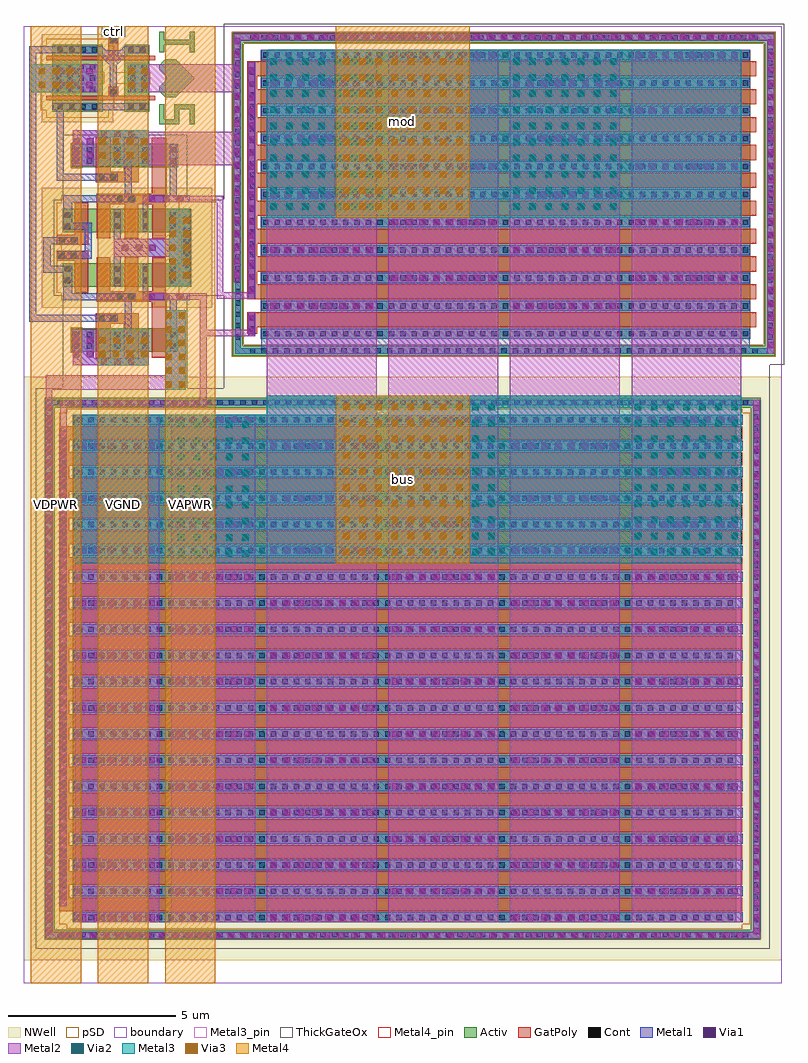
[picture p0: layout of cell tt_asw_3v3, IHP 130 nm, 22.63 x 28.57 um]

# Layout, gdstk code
import gdstk
lib = gdstk.Library(unit=1e-6, precision=1e-09)
def R(c, l, rs):  # rectangles x0, y0, x1, y1
    for r in rs: c.add(gdstk.rectangle(r[:2], r[2:], *l))
def A(c, l, x, y, w, h, nx, ny, dx, dy):  # array of equal rectangles
    R(c, l, [(x+i*dx, y+j*dy, x+i*dx+w, y+j*dy+h) for i in range(nx) for j in range(ny)])
def P(c, l, *ps):  # polygons
    for p in ps: c.add(gdstk.Polygon(p, *l))
Activ = (1, 0)
GatPoly = (5, 0)
Cont = (6, 0)
Metal1 = (8, 0)
Metal2 = (10, 0)
pSD = (14, 0)
Via1 = (19, 0)
Via2 = (29, 0)
Metal3 = (30, 0)
Metal3_pin = (30, 2)
NWell = (31, 0)
ThickGateOx = (44, 0)
Via3 = (49, 0)
Metal4 = (50, 0)
Metal4_pin = (50, 2)
boundary = (189, 4)

tt_asw_3v3 = lib.new_cell('tt_asw_3v3')
R(tt_asw_3v3, Activ, [(0.62,1.3,21.94,1.6), (0.62,1.6,0.92,17.14), (21.64,1.6,21.94,17.14), (1.45,1.81,21.21,16.93), (0.62,17.14,21.94,17.44), (6.22,18.68,22.36,18.98), (1.42,18.8,4.59,19.5), (6.22,18.98,6.52,28), (22.06,18.98,22.36,28), (7.05,19.19,21.63,27.79), (1.15,20.74,4.98,21.44), (4.68,21.44,4.98,22.36), (1.15,22.36,4.98,23.06), (1.42,24.3,4.59,25), (4.03,25.575,4.63,25.725), (4.93,25.575,5.08,26.025), (4.03,25.725,4.18,26.175), (4.48,25.725,4.63,26.025), (0.84,25.95,2.34,27.95), (2.98,25.95,3.73,27.95), (4.48,26.025,5.08,26.175), (4.205,26.385,4.515,26.56), (4.03,26.56,4.515,26.695), (4.24,26.695,4.515,27.205), (4.03,27.205,4.515,27.34), (4.205,27.34,4.515,27.515), (4.03,27.725,4.18,27.95), (4.93,27.725,5.08,27.95), (4.03,27.95,5.08,28.1), (6.22,28,22.36,28.3), (4.03,28.1,4.18,28.325), (4.93,28.1,5.08,28.325)])
P(tt_asw_3v3, Activ, [(4.03,27.34),(4.205,27.34),(4.205,27.515)],
  [(4.03,27.205),(4.24,27.205),(4.24,26.995)],
  [(4.03,26.695),(4.24,26.695),(4.24,26.905)],
  [(4.515,27.515),(4.515,26.95),(5.08,26.95)],
  [(4.03,26.56),(4.205,26.56),(4.205,26.385)],
  [(4.515,26.385),(4.515,26.95),(5.08,26.95)])
A(tt_asw_3v3, GatPoly, 1.05, 2.15, 20.34, 0.4, 1, 19, 0, 0.78)
A(tt_asw_3v3, GatPoly, 1.05, 2.55, 0.3, 0.38, 1, 18, 0, 0.78)
A(tt_asw_3v3, GatPoly, 6.65, 19.53, 15.16, 0.45, 1, 10, 0, 0.83)
A(tt_asw_3v3, GatPoly, 2.165, 20.6, 0.4, 1.02, 3, 2, 0.83, 1.58)
A(tt_asw_3v3, GatPoly, 6.65, 20.81, 0.3, 0.38, 1, 8, 0, 0.83)
R(tt_asw_3v3, GatPoly, [(2.14,18.62,2.59,19.64), (2.97,18.62,3.42,19.64), (3.8,18.62,4.25,20.29), (6.65,19.34,6.95,19.53), (2.14,19.64,3.42,19.95), (2.165,20.29,4.25,20.56), (1.515,20.56,1.915,21.51), (2.165,20.56,4.225,20.6), (0.98,21.51,1.915,21.81), (0.98,21.99,1.915,22.29), (1.515,22.29,1.915,23.24), (2.165,23.2,4.225,23.24), (2.165,23.24,4.25,23.51), (3.8,23.51,4.25,25.18), (2.14,23.85,3.42,24.16), (2.14,24.16,2.59,25.18), (2.97,24.16,3.42,25.18), (0.66,26.29,3.91,26.42), (2.51,26.42,2.81,26.695), (0.66,27.48,3.91,27.61), (2.51,27.61,2.81,28.27)])
A(tt_asw_3v3, Cont, 1, 1.37, 0.16, 0.16, 61, 2, 0.34, 15.84)
A(tt_asw_3v3, Cont, 0.69, 1.795, 0.16, 0.16, 1, 45, 0, 0.34)
A(tt_asw_3v3, Cont, 21.71, 1.82, 0.16, 0.16, 1, 45, 0, 0.34)
A(tt_asw_3v3, Cont, 1.57, 1.88, 0.16, 0.16, 58, 20, 0.34, 0.78)
A(tt_asw_3v3, Cont, 1.12, 2.49, 0.16, 0.16, 1, 41, 0, 0.34)
A(tt_asw_3v3, Cont, 6.73, 18.75, 0.16, 0.16, 45, 2, 0.34, 9.32)
A(tt_asw_3v3, Cont, 1.87, 18.9, 0.16, 0.16, 4, 2, 0.83, 0.34)
A(tt_asw_3v3, Cont, 6.29, 19.16, 0.16, 0.16, 1, 26, 0, 0.34)
A(tt_asw_3v3, Cont, 22.13, 19.16, 0.16, 0.16, 1, 26, 0, 0.34)
A(tt_asw_3v3, Cont, 7.12, 19.26, 0.16, 0.16, 43, 11, 0.34, 0.83)
A(tt_asw_3v3, Cont, 6.72, 20.595, 0.16, 0.16, 1, 20, 0, 0.34)
A(tt_asw_3v3, Cont, 2.7, 20.84, 0.16, 0.16, 3, 2, 0.83, 0.34)
A(tt_asw_3v3, Cont, 4.75, 20.97, 0.16, 0.16, 1, 6, 0, 0.34)
A(tt_asw_3v3, Cont, 2.7, 22.46, 0.16, 0.16, 3, 2, 0.83, 0.34)
A(tt_asw_3v3, Cont, 1.87, 24.4, 0.16, 0.16, 4, 2, 0.83, 0.34)
A(tt_asw_3v3, Cont, 1, 26.02, 0.16, 0.16, 4, 2, 0.34, 1.7)
A(tt_asw_3v3, Cont, 0.945, 26.53, 0.16, 0.16, 4, 3, 0.34, 0.34)
A(tt_asw_3v3, Cont, 3.16, 26.53, 0.16, 0.16, 1, 3, 0, 0.34)
A(tt_asw_3v3, Cont, 3.5, 26.53, 0.16, 0.16, 1, 3, 0, 0.34)
R(tt_asw_3v3, Cont, [(1.49,18.9,1.65,19.06), (1.49,19.24,1.65,19.4), (6.72,19.41,6.88,19.57), (2.235,19.715,2.395,19.875), (2.575,19.715,2.735,19.875), (6.72,19.75,6.88,19.91), (2.77,20.365,2.93,20.525), (3.11,20.365,3.27,20.525), (1.22,20.84,1.38,21), (1.22,21.18,1.38,21.34), (1.05,21.58,1.21,21.74), (1.39,21.58,1.55,21.74), (1.05,22.06,1.21,22.22), (1.39,22.06,1.55,22.22), (1.22,22.46,1.38,22.62), (1.22,22.8,1.38,22.96), (2.77,23.275,2.93,23.435), (3.11,23.275,3.27,23.435), (2.235,23.925,2.395,24.085), (2.575,23.925,2.735,24.085), (1.49,24.4,1.65,24.56), (1.49,24.74,1.65,24.9), (3.105,26.02,3.265,26.18), (3.445,26.02,3.605,26.18), (2.58,26.465,2.74,26.625), (3.105,27.72,3.265,27.88), (3.445,27.72,3.605,27.88), (2.58,28.04,2.74,28.2)])
A(tt_asw_3v3, Metal1, 1.485, 1.81, 19.92, 0.3, 1, 20, 0, 0.78)
A(tt_asw_3v3, Metal1, 7.07, 20.02, 14.54, 0.3, 1, 10, 0, 0.83)
R(tt_asw_3v3, Metal1, [(0.64,1.32,21.92,1.53), (0.64,1.53,0.85,17.21), (21.71,1.53,21.92,17.21), (1.07,2.295,1.28,16.445), (0.64,17.21,21.92,17.37), (1.45,18.4,3.715,18.61), (1.45,18.61,2.07,19.48), (3.505,18.61,3.715,19.48), (6.29,18.75,22.34,18.91), (2.675,18.82,2.885,19.27), (4.335,18.82,4.545,20.34), (6.29,18.91,6.45,20.88), (7.07,18.91,21.61,19.49), (22.13,18.91,22.34,28.07), (6.67,19.26,6.88,19.96), (2.675,19.27,3.205,19.48), (2.995,19.48,3.205,20.34), (0.16,19.69,2.785,19.9), (0.16,19.9,0.37,27.695), (1.17,20.34,3.32,20.55), (3.53,20.34,4.935,20.55), (6.67,20.38,6.88,27.43), (1.17,20.55,1.43,21.16), (3.53,20.55,3.69,21.42), (2.675,20.76,2.885,21.63), (4.325,20.76,4.945,21.63), (6.24,20.88,6.45,28.07), (0.58,21.16,1.43,21.37), (0.58,21.37,0.79,22.01), (1,21.58,2.02,21.79), (2.675,21.63,4.945,22.17), (1.81,21.79,2.02,22.43), (0.58,22.01,1.6,22.22), (2.675,22.17,2.885,23.04), (4.325,22.17,4.945,23.04), (3.53,22.38,3.69,23.25), (1.17,22.43,2.02,22.64), (1.17,22.64,1.43,23.25), (1.17,23.25,3.32,23.46), (3.53,23.25,4.935,23.46), (2.995,23.46,3.205,24.32), (4.335,23.46,4.545,24.98), (0.975,23.9,2.785,24.11), (0.975,24.11,1.185,25.995), (1.45,24.32,2.07,25.19), (2.675,24.32,3.205,24.53), (3.505,24.32,3.715,25.19), (2.675,24.53,2.885,24.98), (1.45,25.19,3.715,25.4), (0.86,25.995,3.71,26.205), (2.555,26.415,2.765,27.37), (0.86,26.53,2.21,27.37), (3.11,26.53,3.73,27.37), (2.53,27.37,2.79,27.695), (0.16,27.695,3.71,27.78), (0.16,27.78,2.345,27.88), (2.975,27.78,3.71,27.88), (0.16,27.88,2.32,27.905), (3,27.88,3.71,27.905), (2.55,27.99,2.77,28.19), (6.24,28.07,22.34,28.28), (2.31,28.19,3.01,28.4)])
P(tt_asw_3v3, Metal1, [(2.32,27.905),(2.32,27.88),(2.345,27.88)],
  [(2.975,27.88),(3,27.88),(3,27.905)],
  [(2.345,27.88),(2.345,27.78),(2.445,27.78)],
  [(2.875,27.78),(2.975,27.78),(2.975,27.88)],
  [(2.205,27.695),(2.53,27.695),(2.53,27.37)],
  [(2.79,27.37),(2.79,27.695),(3.115,27.695)],
  [(2.53,27.37),(2.555,27.37),(2.555,27.345)],
  [(2.765,27.345),(2.765,27.37),(2.79,27.37)])
A(tt_asw_3v3, Metal2, 7.23, 1.81, 3.27, 25.98, 4, 1, 3.62, 0)
R(tt_asw_3v3, Metal2, [(0.645,1.325,21.92,1.525), (0.645,1.525,0.845,17.67), (21.715,1.525,21.915,17.37), (1.53,1.81,4.03,16.93), (4.38,1.81,6.88,16.93), (1.075,2.295,1.275,17.17), (1.075,17.17,5.44,17.37), (5.24,17.37,5.44,19.26), (0.645,17.67,4.81,18.1), (4.2,18.1,4.81,20.045), (1.455,18.4,3.71,19.48), (22.135,18.75,22.335,28.075), (5.24,19.26,6.875,19.46), (5.24,19.46,5.44,20.345), (6.675,19.46,6.875,19.96), (3.53,20.345,5.44,20.545), (5.74,20.38,6.875,20.58), (5.74,20.58,5.94,23.255), (6.675,20.58,6.875,27.43), (4.33,20.76,4.94,21.63), (6.245,20.88,6.445,24.36), (2.675,21.63,4.94,22.17), (4.33,22.17,4.94,23.04), (3.53,23.255,5.94,23.455), (1.455,24.32,3.71,24.36), (1.455,24.36,6.445,25.36), (1.455,25.36,3.71,25.4), (6.245,25.36,6.445,26.53), (0.2,26.53,2.21,27.37), (3.09,26.53,6.445,27.37), (6.245,27.37,6.445,28.075), (6.245,28.075,22.335,28.275), (2.31,28.19,3.01,28.4)])
R(tt_asw_3v3, pSD, [(1.27,1.63,21.39,1.75), (1.05,1.75,21.61,16.99), (1.27,16.99,21.39,17.11), (6.19,18.65,22.39,19.01), (1.39,18.77,1.74,19.53), (6.19,19.01,6.55,27.97), (22.03,19.01,22.39,27.97), (1.115,20.34,4.63,20.56), (0.97,20.56,4.63,21.62), (1.115,21.62,4.63,22.18), (0.97,22.18,4.63,23.24), (1.115,23.24,4.63,23.46), (1.39,24.27,1.74,25.03), (0.66,25.77,2.52,25.99), (0.5,25.99,2.68,26.78), (0.5,26.78,0.81,27.12), (2.37,26.78,3.76,27.12), (0.5,27.12,2.68,27.91), (0.66,27.91,2.52,28.13), (6.19,27.97,22.39,28.33)])
A(tt_asw_3v3, Via1, 1.14, 1.33, 0.19, 0.19, 50, 1, 0.41, 0)
A(tt_asw_3v3, Via1, 0.65, 1.46, 0.19, 0.19, 1, 39, 0, 0.41)
A(tt_asw_3v3, Via1, 21.72, 1.46, 0.19, 0.19, 1, 39, 0, 0.41)
A(tt_asw_3v3, Via1, 1.66, 1.865, 0.19, 0.19, 6, 10, 0.41, 1.56)
A(tt_asw_3v3, Via1, 7.335, 1.865, 0.19, 0.19, 8, 10, 0.41, 1.56)
A(tt_asw_3v3, Via1, 14.575, 1.865, 0.19, 0.19, 8, 10, 0.41, 1.56)
A(tt_asw_3v3, Via1, 1.08, 2.51, 0.19, 0.19, 1, 34, 0, 0.41)
A(tt_asw_3v3, Via1, 4.51, 2.645, 0.19, 0.19, 6, 10, 0.41, 1.56)
A(tt_asw_3v3, Via1, 10.955, 2.645, 0.19, 0.19, 8, 10, 0.41, 1.56)
A(tt_asw_3v3, Via1, 18.195, 2.645, 0.19, 0.19, 8, 10, 0.41, 1.56)
A(tt_asw_3v3, Via1, 2.28, 18.41, 0.19, 0.19, 3, 2, 0.41, 6.79)
A(tt_asw_3v3, Via1, 22.14, 18.905, 0.19, 0.19, 1, 23, 0, 0.41)
A(tt_asw_3v3, Via1, 7.335, 20.075, 0.19, 0.19, 8, 5, 0.41, 1.66)
A(tt_asw_3v3, Via1, 14.575, 20.075, 0.19, 0.19, 8, 5, 0.41, 1.66)
A(tt_asw_3v3, Via1, 3.725, 20.35, 0.19, 0.19, 3, 2, 0.41, 2.91)
A(tt_asw_3v3, Via1, 6.68, 20.53, 0.19, 0.19, 1, 17, 0, 0.41)
A(tt_asw_3v3, Via1, 10.955, 20.905, 0.19, 0.19, 8, 5, 0.41, 1.66)
A(tt_asw_3v3, Via1, 18.195, 20.905, 0.19, 0.19, 8, 5, 0.41, 1.66)
A(tt_asw_3v3, Via1, 4.335, 20.985, 0.19, 0.19, 1, 5, 0, 0.41)
A(tt_asw_3v3, Via1, 4.745, 20.985, 0.19, 0.19, 1, 5, 0, 0.41)
A(tt_asw_3v3, Via1, 6.25, 20.995, 0.19, 0.19, 1, 18, 0, 0.41)
A(tt_asw_3v3, Via1, 2.915, 21.805, 0.19, 0.19, 3, 1, 0.41, 0)
A(tt_asw_3v3, Via1, 1.03, 26.65, 0.19, 0.19, 3, 2, 0.41, 0.41)
A(tt_asw_3v3, Via1, 6.815, 28.08, 0.19, 0.19, 37, 1, 0.41, 0)
R(tt_asw_3v3, Via1, [(1.46,18.64,1.65,18.83), (1.87,18.64,2.06,18.83), (3.515,18.64,3.705,18.83), (1.46,19.05,1.65,19.24), (1.87,19.05,2.06,19.24), (3.515,19.05,3.705,19.24), (6.68,19.31,6.87,19.5), (6.68,19.72,6.87,19.91), (1.46,24.56,1.65,24.75), (1.87,24.56,2.06,24.75), (3.515,24.56,3.705,24.75), (1.46,24.97,1.65,25.16), (1.87,24.97,2.06,25.16), (3.515,24.97,3.705,25.16), (3.12,26.65,3.31,26.84), (3.53,26.65,3.72,26.84), (3.12,27.06,3.31,27.25), (3.53,27.06,3.72,27.25), (2.36,28.2,2.55,28.39), (2.77,28.2,2.96,28.39)])
A(tt_asw_3v3, Via2, 4.575, 12.7, 0.19, 0.19, 5, 9, 0.48, 0.48)
A(tt_asw_3v3, Via2, 10.95, 12.745, 0.19, 0.19, 7, 10, 0.48, 0.48)
A(tt_asw_3v3, Via2, 18.19, 12.745, 0.19, 0.19, 7, 10, 0.48, 0.48)
A(tt_asw_3v3, Via2, 4.205, 17.735, 0.19, 0.19, 1, 6, 0, 0.41)
A(tt_asw_3v3, Via2, 4.615, 17.735, 0.19, 0.19, 1, 6, 0, 0.41)
A(tt_asw_3v3, Via2, 2.24, 18.64, 0.19, 0.19, 4, 2, 0.41, 0.41)
A(tt_asw_3v3, Via2, 4.335, 20.985, 0.19, 0.19, 1, 5, 0, 0.41)
A(tt_asw_3v3, Via2, 4.745, 20.985, 0.19, 0.19, 1, 5, 0, 0.41)
A(tt_asw_3v3, Via2, 7.33, 23.035, 0.19, 0.19, 7, 10, 0.48, 0.48)
A(tt_asw_3v3, Via2, 14.57, 23.035, 0.19, 0.19, 7, 10, 0.48, 0.48)
A(tt_asw_3v3, Via2, 2.24, 24.56, 0.19, 0.19, 4, 2, 0.41, 0.41)
A(tt_asw_3v3, Via2, 0.445, 26.65, 0.19, 0.19, 3, 2, 0.41, 0.41)
R(tt_asw_3v3, Via2, [(3.095,26.65,3.285,26.84), (3.505,26.65,3.695,26.84), (3.095,27.06,3.285,27.25), (3.505,27.06,3.695,27.25), (2.36,28.2,2.55,28.39), (2.77,28.2,2.96,28.39)])
R(tt_asw_3v3, Metal3, [(1.53,12.5,21.36,16.93), (7.23,16.93,21.36,17.5), (4.2,17.67,4.81,20.045), (2.2,18.4,3.7,19.48), (4.33,20.76,4.94,23.04), (7.23,22.79,21.36,27.79), (2.2,24.32,3.7,25.4), (0.2,26.53,1.7,27.37), (3.09,26.53,3.7,27.37), (2.31,28.19,3.01,28.5)])
R(tt_asw_3v3, Metal3_pin, [(2.31,28.19,3.01,28.5)])
R(tt_asw_3v3, NWell, [(0,0.68,22.56,18.06), (0.53,20.12,5.6,23.68), (0.53,25.64,2.66,28.23), (0.53,28.23,2.65,28.26)])
R(tt_asw_3v3, ThickGateOx, [(0.35,1.03,22.21,17.71), (1.15,17.71,4.86,20.47), (5.95,17.71,22.21,18.41), (5.95,18.41,22.63,20.47), (0.88,20.47,22.63,23.33), (1.15,23.33,4.86,25.27), (5.95,23.33,22.63,28.57)])
A(tt_asw_3v3, Via3, 9.505, 12.745, 0.19, 0.19, 8, 10, 0.48, 0.48)
A(tt_asw_3v3, Via3, 4.205, 17.735, 0.19, 0.19, 1, 6, 0, 0.41)
A(tt_asw_3v3, Via3, 4.615, 17.735, 0.19, 0.19, 1, 6, 0, 0.41)
A(tt_asw_3v3, Via3, 2.24, 18.64, 0.19, 0.19, 4, 2, 0.41, 0.41)
A(tt_asw_3v3, Via3, 4.335, 20.985, 0.19, 0.19, 1, 5, 0, 0.41)
A(tt_asw_3v3, Via3, 4.745, 20.985, 0.19, 0.19, 1, 5, 0, 0.41)
A(tt_asw_3v3, Via3, 9.505, 23.035, 0.19, 0.19, 8, 10, 0.48, 0.48)
A(tt_asw_3v3, Via3, 2.24, 24.56, 0.19, 0.19, 4, 2, 0.41, 0.41)
A(tt_asw_3v3, Via3, 0.445, 26.65, 0.19, 0.19, 3, 2, 0.41, 0.41)
R(tt_asw_3v3, Via3, [(3.095,26.65,3.285,26.84), (3.505,26.65,3.695,26.84), (3.095,27.06,3.285,27.25), (3.505,27.06,3.695,27.25)])
A(tt_asw_3v3, Metal4, 0.2, 0, 1.5, 28.5, 3, 1, 2, 0)
R(tt_asw_3v3, Metal4, [(9.28,12.5,13.28,17.5), (9.28,22.79,13.28,28.5)])
A(tt_asw_3v3, Metal4_pin, 0.2, 0, 1.5, 28.5, 3, 1, 2, 0)
R(tt_asw_3v3, Metal4_pin, [(9.28,12.5,13.28,17.5), (9.28,22.79,13.28,28.5)])
R(tt_asw_3v3, boundary, [(0,0,22.56,28.5)])
tt_asw_3v3.add(gdstk.Label('VGND', (2.95,14.25), layer=50, texttype=25))
tt_asw_3v3.add(gdstk.Label('VDPWR', (0.95,14.25), layer=50, texttype=25))
tt_asw_3v3.add(gdstk.Label('VAPWR', (4.95,14.25), layer=50, texttype=25))
tt_asw_3v3.add(gdstk.Label('ctrl', (2.66,28.345), layer=30, texttype=25))
tt_asw_3v3.add(gdstk.Label('mod', (11.28,25.645), layer=50, texttype=25))
tt_asw_3v3.add(gdstk.Label('bus', (11.28,15), layer=50, texttype=25))

lib.write_gds('tt_asw_3v3.gds')
